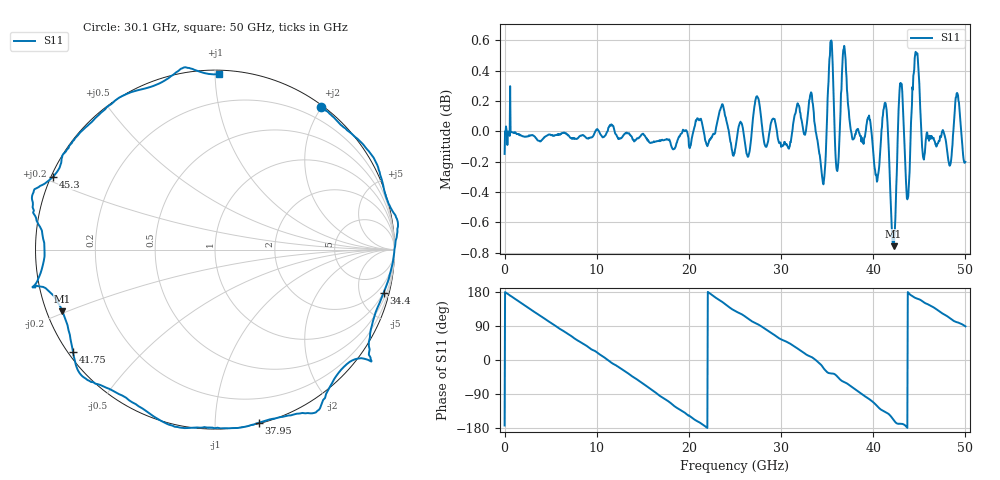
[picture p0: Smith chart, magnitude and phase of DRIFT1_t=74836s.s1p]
!Created with skrf (http://scikit-rf.org).
# Hz S RI R 50.0
!freq ReS11 ImS11
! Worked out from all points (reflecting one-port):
!   1001 points, 300 kHz to 50 GHz, reference 50 ohm
!   lowest |S11| = -0.8 dB at 42.2 GHz (marker M1), VSWR 22.97, Z = 2.26 - j9.7 ohm
!   phase of S11 starts at -173 deg and turns -818 deg over the sweep
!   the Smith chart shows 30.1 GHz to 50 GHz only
!   S11 on the Smith chart (normalised r, x): 30.1 GHz: 0.03, +1.99; 34.4 GHz: 0.97, -7.78; 37.95 GHz: 0.01, -1.29; 41.75 GHz: 0.01, -0.32; 45.3 GHz: 0.01, +0.22; 50 GHz: 0.02, +1.02
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300000  -0.9753 -0.1231
1.450291e9  -0.9126 0.4041
3.25028e9  -0.593 0.8004
6.250262e9  0.199 0.9787
9.500243e9  0.8874 0.4513
1.250022e10  0.9299 -0.3523
1.580021e10  0.242 -0.9613
1.73502e10  -0.2116 -0.9706
1.875019e10  -0.5987 -0.7922
2.165017e10  -0.991 -0.1218
2.345016e10  -0.9304 0.4125
2.500015e10  -0.6267 0.7615
2.745014e10  -0.0829 1.023
3.010012e10  0.5902 0.7936
3.125011e10  0.7812 0.6268
3.31501e10  1.013 0.1724
3.440009e10  0.9389 -0.2416
3.520009e10  0.8637 -0.5961
3.750008e10  0.3768 -0.9317
3.795007e10  0.2447 -0.9645
3.965006e10  -0.2554 -0.9759
4.175005e10  -0.7911 -0.5688
4.220005e10  -0.8499 -0.3432
4.290004e10  -1.014 -0.2117
4.375004e10  -0.9505 0.012
4.530003e10  -0.9012 0.4064
4.765001e10  -0.5125 0.8577
5e10  0.0197 0.9769
